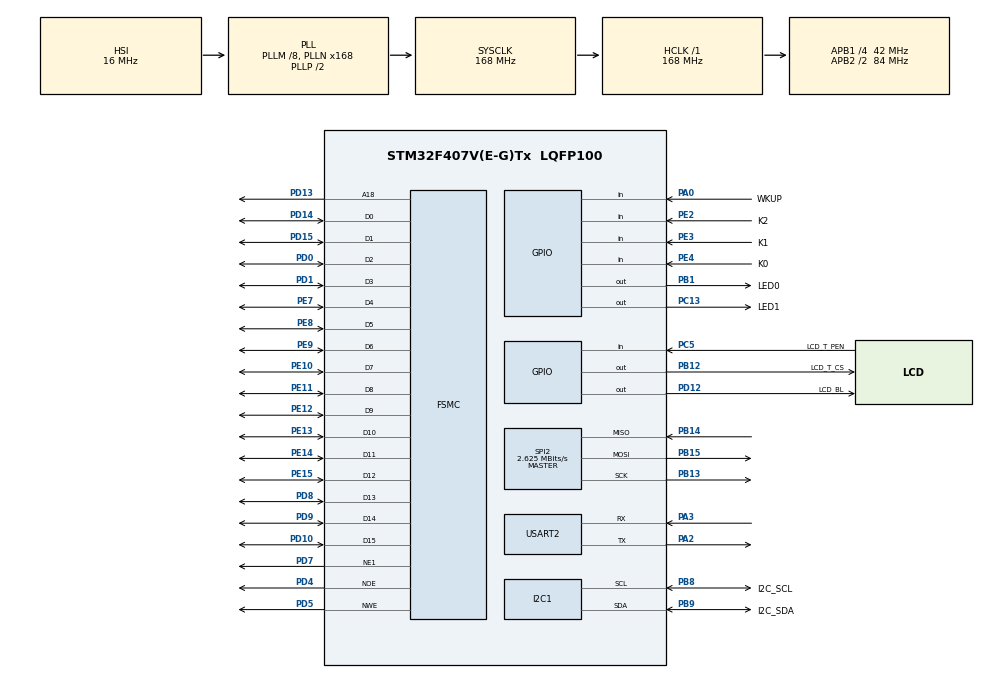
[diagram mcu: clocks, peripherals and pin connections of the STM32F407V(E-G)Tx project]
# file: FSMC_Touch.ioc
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FSMC.AddressSetupTime1=15
FSMC.BusTurnAroundDuration1=0
FSMC.DataSetupTime1=60
FSMC.ExtendedAddressSetupTime1=9
FSMC.ExtendedBusTurnAroundDuration1=0
FSMC.ExtendedDataSetupTime1=8
FSMC.ExtendedMode1=FSMC_EXTENDED_MODE_ENABLE
Mcu.Family=STM32F4
Mcu.Name=STM32F407V(E-G)Tx
Mcu.Package=LQFP100
NVIC.PriorityGroup=NVIC_PRIORITYGROUP_4
NVIC.USART2_IRQn=true\:0\:0\:false\:false\:true\:true\:true
PA0-WKUP.GPIO_Label=WKUP
PA0-WKUP.GPIO_PuPd=GPIO_PULLDOWN
PA0-WKUP.Signal=GPIO_Input
PA13.Mode=Serial_Wire
PA13.Signal=SYS_JTMS-SWDIO
PA14.Mode=Serial_Wire
PA14.Signal=SYS_JTCK-SWCLK
PA2.Mode=Asynchronous
PA2.Signal=USART2_TX
PA3.Mode=Asynchronous
PA3.Signal=USART2_RX
PB1.GPIO_Label=LED0
PB1.GPIO_PuPd=GPIO_PULLUP
PB1.GPIO_Speed=GPIO_SPEED_FREQ_HIGH
PB1.Signal=GPIO_Output
PB12.GPIO_Label=LCD_T_CS
PB12.GPIO_PuPd=GPIO_PULLUP
PB12.GPIO_Speed=GPIO_SPEED_FREQ_HIGH
PB12.PinState=GPIO_PIN_SET
PB12.Signal=GPIO_Output
PB13.GPIO_PuPd=GPIO_PULLUP
PB13.Mode=Full_Duplex_Master
PB13.Signal=SPI2_SCK
PB14.GPIO_PuPd=GPIO_PULLUP
PB14.Mode=Full_Duplex_Master
PB14.Signal=SPI2_MISO
PB15.GPIO_PuPd=GPIO_PULLUP
PB15.Mode=Full_Duplex_Master
PB15.Signal=SPI2_MOSI
PB8.GPIO_Label=I2C_SCL
PB8.GPIO_Pu=GPIO_PULLUP
PB8.Mode=I2C
PB8.Signal=I2C1_SCL
PB9.GPIO_Label=I2C_SDA
PB9.GPIO_Pu=GPIO_PULLUP
PB9.Mode=I2C
PB9.Signal=I2C1_SDA
PC13-ANTI_TAMP.GPIO_Label=LED1
PC13-ANTI_TAMP.GPIO_PuPd=GPIO_PULLUP
PC13-ANTI_TAMP.Signal=GPIO_Output
PC5.GPIO_Label=LCD_T_PEN
PC5.GPIO_PuPd=GPIO_PULLUP
PC5.Signal=GPIO_Input
PD0.Mode=16b-d1
PD0.Signal=FSMC_D2
PD1.Mode=16b-d1
PD1.Signal=FSMC_D3
PD10.Mode=16b-d1
PD10.Signal=FSMC_D15
PD12.GPIO_Label=LCD_BL
PD12.Signal=GPIO_Output
PD13.Mode=A18_1
PD13.Signal=FSMC_A18
PD14.Mode=16b-d1
PD14.Signal=FSMC_D0
PD15.Mode=16b-d1
PD15.Signal=FSMC_D1
PD4.Mode=Lcd1
PD4.Signal=FSMC_NOE
PD5.Mode=Lcd1
PD5.Signal=FSMC_NWE
PD7.Mode=NorPsramChipSelect1_1
PD7.Signal=FSMC_NE1
PD8.Mode=16b-d1
PD8.Signal=FSMC_D13
PD9.Mode=16b-d1
PD9.Signal=FSMC_D14
PE10.Mode=16b-d1
PE10.Signal=FSMC_D7
PE11.Mode=16b-d1
PE11.Signal=FSMC_D8
PE12.Mode=16b-d1
PE12.Signal=FSMC_D9
PE13.Mode=16b-d1
PE13.Signal=FSMC_D10
PE14.Mode=16b-d1
PE14.Signal=FSMC_D11
PE15.Mode=16b-d1
PE15.Signal=FSMC_D12
PE2.GPIO_Label=K2
PE2.GPIO_PuPd=GPIO_PULLUP
PE2.Signal=GPIO_Input
PE3.GPIO_Label=K1
PE3.GPIO_PuPd=GPIO_PULLUP
PE3.Signal=GPIO_Input
PE4.GPIO_Label=K0
PE4.GPIO_PuPd=GPIO_PULLUP
PE4.Signal=GPIO_Input
PE7.Mode=16b-d1
PE7.Signal=FSMC_D4
PE8.Mode=16b-d1
PE8.Signal=FSMC_D5
PE9.Mode=16b-d1
PE9.Signal=FSMC_D6
PH0-OSC_IN.Mode=HSE-External-Oscillator
PH0-OSC_IN.Signal=RCC_OSC_IN
PH1-OSC_OUT.Mode=HSE-External-Oscillator
PH1-OSC_OUT.Signal=RCC_OSC_OUT
ProjectManager.HeapSize=0x200
ProjectManager.StackSize=0x400
ProjectManager.TargetToolchain=MDK-ARM V5
RCC.48MHZClocksFreq_Value=84000000
RCC.AHBFreq_Value=168000000
RCC.APB1CLKDivider=RCC_HCLK_DIV4
RCC.APB1Freq_Value=42000000
RCC.APB1TimFreq_Value=84000000
RCC.APB2CLKDivider=RCC_HCLK_DIV2
RCC.APB2Freq_Value=84000000
RCC.APB2TimFreq_Value=168000000
RCC.CortexFreq_Value=168000000
RCC.HCLKFreq_Value=168000000
RCC.HSE_VALUE=25000000
RCC.HSI_VALUE=16000000
RCC.LSE_VALUE=32768
RCC.PLLM=8
RCC.PLLN=168
RCC.SYSCLKFreq_VALUE=168000000
RCC.SYSCLKSource=RCC_SYSCLKSOURCE_PLLCLK
RCC.VCOOutputFreq_Value=336000000
SPI2.BaudRatePrescaler=SPI_BAUDRATEPRESCALER_16
SPI2.CalculateBaudRate=2.625 MBits/s
SPI2.Direction=SPI_DIRECTION_2LINES
SPI2.Mode=SPI_MODE_MASTER
SPI2.VirtualType=VM_MASTER
USART2.VirtualMode=VM_ASYNC
board=custom

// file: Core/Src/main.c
/* USER CODE BEGIN Header */
/**
  ******************************************************************************
  * @file           : main.c
  * @brief          : Main program body
  ******************************************************************************
  * @attention
  *
  * Copyright (c) 2025 STMicroelectronics.
  * All rights reserved.
  *
  * This software is licensed under terms that can be found in the LICENSE file
  * in the root directory of this software component.
  * If no LICENSE file comes with this software, it is provided AS-IS.
  *
  ******************************************************************************
  */
/* USER CODE END Header */
#include "main.h"
#include "i2c.h"
#include "spi.h"
#include "usart.h"
#include "gpio.h"
#include "fsmc.h"

/* USER CODE BEGIN Includes */
#include "stdio.h"
#include "lcd.h"
#include "touch.h"
/* USER CODE END Includes */

void SystemClock_Config(void);

/* USER CODE BEGIN 0 */
#define RXBUFFERSIZE  256
char RxBuffer[RXBUFFERSIZE];

/*
for循环实现延时us
*/
void for_delay_us(uint32_t nus)
{
    uint32_t Delay = nus * 168/4;
    do
    {
        __NOP();
    }
    while (Delay --);
}

/* USER CODE END 0 */

int main(void)
{

  /* MCU Configuration--------------------------------------------------------*/

  /* Reset of all peripherals, Initializes the Flash interface and the Systick. */
  HAL_Init();

  /* Configure the system clock */
  SystemClock_Config();

  /* Initialize all configured peripherals */
  MX_GPIO_Init();
  MX_USART2_UART_Init();
  MX_FSMC_Init();
  MX_SPI2_Init();
  MX_I2C1_Init();
  /* USER CODE BEGIN 2 */
	lcd_init();           //初始化LCD FSMC接口
	g_point_color = RED;
  tp_dev.init();                      /* 触摸屏初始化 */
	lcd_show_string(30, 50, 200, 16, 16, "STM32", RED);
	lcd_show_string(30, 70, 200, 16, 16, "TOUCH TEST", RED);
	lcd_show_string(30, 90, 200, 16, 16, "ATOM@ALIENTEK", RED);

	if (tp_dev.touchtype != 0xFF)
	{
			lcd_show_string(30, 110, 200, 16, 16, "Press KEY0 to Adjust", RED); /* 电阻屏才显示 */
	}

	HAL_Delay(1500);
	load_draw_dialog(); // 清空屏幕并在右上角显示"RST"
	HAL_GPIO_TogglePin(LED1_GPIO_Port,LED0_Pin);
	rtp_test(); /* 电阻屏测试 */
  /* USER CODE END 2 */

  /* Infinite loop */
  while (1)
  {

    /* USER CODE BEGIN 3 */
		HAL_GPIO_TogglePin(LED1_GPIO_Port,LED1_Pin);
		HAL_Delay(1000);
		printf("LVGL测试 \n");
  }
  /* USER CODE END 3 */
}

void SystemClock_Config(void)
{
  RCC_OscInitTypeDef RCC_OscInitStruct = {0};
  RCC_ClkInitTypeDef RCC_ClkInitStruct = {0};

  /** Configure the main internal regulator output voltage
  */
  __HAL_RCC_PWR_CLK_ENABLE();
  __HAL_PWR_VOLTAGESCALING_CONFIG(PWR_REGULATOR_VOLTAGE_SCALE1);
  /** Initializes the RCC Oscillators according to the specified parameters
  * in the RCC_OscInitTypeDef structure.
  */
  RCC_OscInitStruct.OscillatorType = RCC_OSCILLATORTYPE_HSI;
  RCC_OscInitStruct.HSIState = RCC_HSI_ON;
  RCC_OscInitStruct.HSICalibrationValue = RCC_HSICALIBRATION_DEFAULT;
  RCC_OscInitStruct.PLL.PLLState = RCC_PLL_ON;
  RCC_OscInitStruct.PLL.PLLSource = RCC_PLLSOURCE_HSI;
  RCC_OscInitStruct.PLL.PLLM = 8;
  RCC_OscInitStruct.PLL.PLLN = 168;
  RCC_OscInitStruct.PLL.PLLP = RCC_PLLP_DIV2;
  RCC_OscInitStruct.PLL.PLLQ = 4;
  if (HAL_RCC_OscConfig(&RCC_OscInitStruct) != HAL_OK)
  {
    Error_Handler();
  }
  /** Initializes the CPU, AHB and APB buses clocks
  */
  RCC_ClkInitStruct.ClockType = RCC_CLOCKTYPE_HCLK|RCC_CLOCKTYPE_SYSCLK
                              |RCC_CLOCKTYPE_PCLK1|RCC_CLOCKTYPE_PCLK2;
  RCC_ClkInitStruct.SYSCLKSource = RCC_SYSCLKSOURCE_PLLCLK;
  RCC_ClkInitStruct.AHBCLKDivider = RCC_SYSCLK_DIV1;
  RCC_ClkInitStruct.APB1CLKDivider = RCC_HCLK_DIV4;
  RCC_ClkInitStruct.APB2CLKDivider = RCC_HCLK_DIV2;

  if (HAL_RCC_ClockConfig(&RCC_ClkInitStruct, FLASH_LATENCY_5) != HAL_OK)
  {
    Error_Handler();
  }
}

void Error_Handler(void)
{
  __disable_irq();
  while (1)
  {
  }
}
